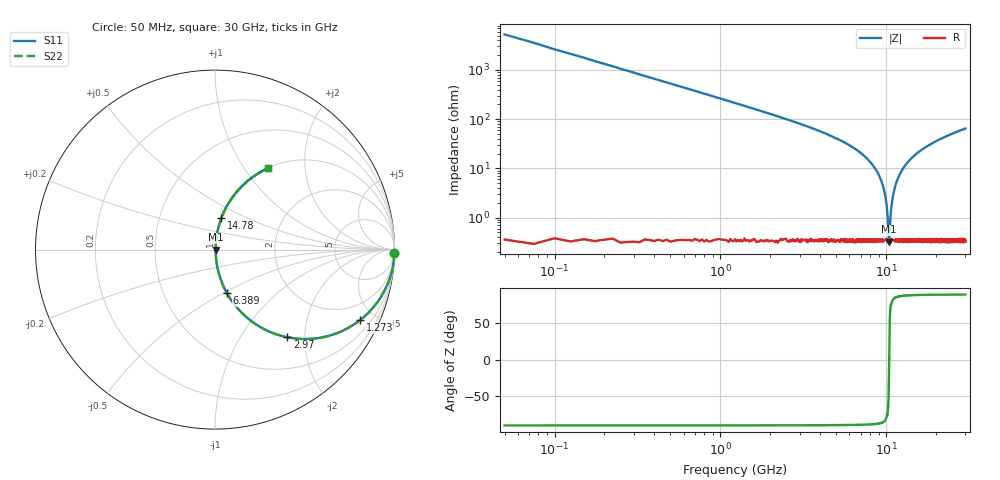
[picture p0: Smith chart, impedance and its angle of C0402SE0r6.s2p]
# MHZ S MA R 50
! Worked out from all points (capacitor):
!   1201 points, 50 MHz to 30 GHz, reference 50 ohm
!   read as one part in series: C = 600 fF near 199.8 MHz
!   lowest |Z| = 322 mohm at 10.41 GHz (marker M1)
!   series resonance near 10.4 GHz, so ESL is about 390 pH
!   S11 on the Smith chart (normalised r, x): 50 MHz: open; 1.273 GHz: 1.01, -4.10; 2.97 GHz: 1.01, -1.64; 6.389 GHz: 1.01, -0.52; 14.78 GHz: 1.01, +0.37; 30 GHz: 1.01, +1.29
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50  1 -1.1  0.019 88.9  0.019 88.9  1 -1.1
274.625  0.995 -5.9  0.103 84.1  0.103 84.1  0.995 -5.9
474.292  0.984 -10.2  0.176 79.8  0.176 79.8  0.984 -10.2
823.708  0.954 -17.3  0.298 72.6  0.298 72.6  0.954 -17.3
1272.958  0.898 -26.0  0.438 63.9  0.438 63.9  0.898 -26.0
2970.125  0.633 -50.5  0.772 39.3  0.772 39.3  0.633 -50.5
5041.667  0.372 -67.7  0.925 21.9  0.925 21.9  0.372 -67.7
6389.417  0.25 -74.8  0.965 14.5  0.965 14.5  0.25 -74.8
8885.25  0.08 -83.0  0.993 4.6  0.993 4.6  0.08 -83.0
9609.042  0.041 -82.9  0.996 2.3  0.996 2.3  0.041 -82.9
10058.29  0.018 -77.8  0.996 1.0  0.996 1.0  0.018 -77.8
10307.88  0.005837 -53.9  0.997 0.3  0.997 0.3  0.005837 -53.9
10407.71  0.003423 2.8  0.997 -0.0  0.997 -0.0  0.003423 2.8
10507.54  0.006072 55.4  0.997 -0.3  0.997 -0.3  0.006072 55.4
10906.88  0.024 80.5  0.996 -1.4  0.996 -1.4  0.024 80.5
11555.79  0.053 83.3  0.995 -3.1  0.995 -3.1  0.053 83.3
12828.67  0.107 82.1  0.991 -6.1  0.991 -6.1  0.107 82.1
14775.42  0.179 78.6  0.98 -10.3  0.98 -10.3  0.179 78.6
15025  0.188 78.2  0.979 -10.8  0.979 -10.8  0.188 78.2
20016.67  0.336 69.8  0.939 -19.6  0.939 -19.6  0.336 69.8
25033.29  0.451 62.8  0.889 -26.8  0.889 -26.8  0.451 62.8
30000  0.542 56.9  0.838 -32.8  0.838 -32.8  0.542 56.9
